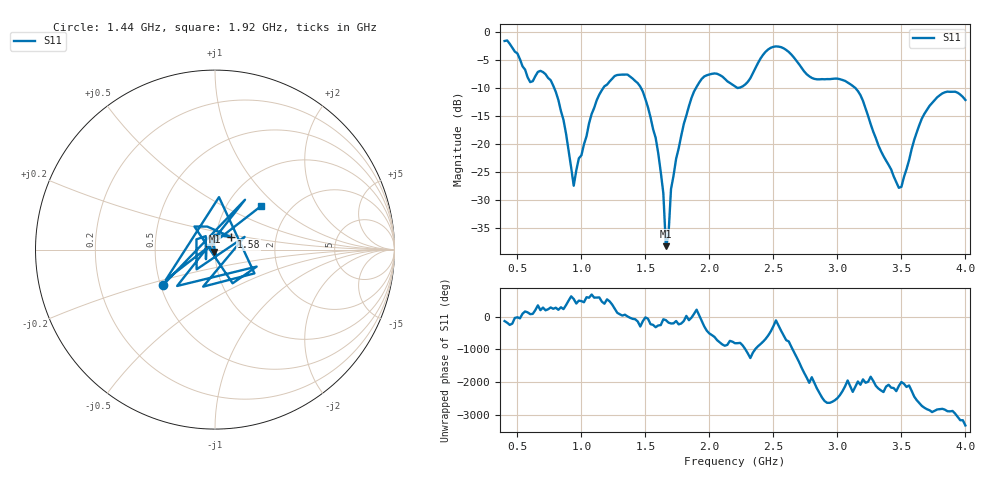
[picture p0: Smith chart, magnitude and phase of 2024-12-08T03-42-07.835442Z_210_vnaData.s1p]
!Created with skrf (http://scikit-rf.org).
# Hz S RI R 50.0
!freq ReS11 ImS11
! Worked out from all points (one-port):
!   181 points, 400 MHz to 4 GHz, reference 50 ohm
!   lowest |S11| = -38.3 dB at 1.66 GHz (marker M1), VSWR 1.02, Z = 49.6 - j1.16 ohm
!   |S11| at or under -10 dB: 786.8 MHz to 1.172 GHz (385.2 MHz wide, 39.3 % of centre); 1.465 GHz to 1.896 GHz (431.2 MHz wide, 25.7 % of centre); 3.139 GHz to end of sweep (the widest 3 of 4)
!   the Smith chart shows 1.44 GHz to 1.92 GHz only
!   S11 on the Smith chart (normalised r, x): 1.44 GHz: 0.52, -0.23; 1.58 GHz: 1.18, +0.17; 1.92 GHz: 1.43, +0.79
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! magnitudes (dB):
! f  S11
! 400 MHz  -1.6
! 600 MHz  -9.0
! 680 MHz  -7.0
! 760 MHz  -8.6
! 860 MHz  -15.7
! 940 MHz  -27.5
! 1.12 GHz  -12.2
! 1.3 GHz  -7.7
! 1.44 GHz  -9.2
! 1.58 GHz  -18.9
! 1.64 GHz  -28.8
! 1.66 GHz  -38.3
! 1.68 GHz  -36.5
! 1.7 GHz  -28.1
! 1.76 GHz  -20.8
! 1.92 GHz  -9.1
! 2.04 GHz  -7.4
! 2.2 GHz  -9.7
! 2.48 GHz  -2.8
! 2.66 GHz  -4.6
! 2.8 GHz  -8.2
! 3.1 GHz  -9.3
! 3.18 GHz  -11.3
! 3.48 GHz  -27.9
! 3.56 GHz  -22.9
! 3.66 GHz  -15.5
! 3.76 GHz  -12.2
! 4 GHz  -12.2
